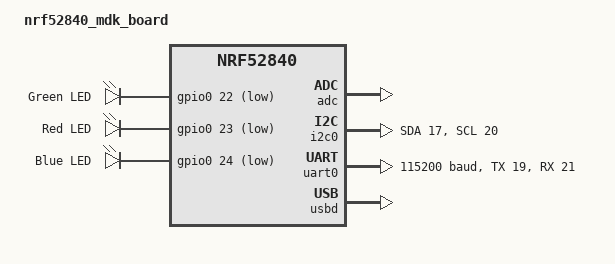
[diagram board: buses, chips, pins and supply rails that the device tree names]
/*
 * Copyright (c) 2020 Pete Johanson
 *
 * SPDX-License-Identifier: MIT
 */

/dts-v1/;
#include <nordic/nrf52840_qiaa.dtsi>
#include "arduino_pro_micro_pins.dtsi"

/ {
	model = "nrf52840_mdk_board";
	compatible = "nice,nano";

	chosen {
		zephyr,code-partition = &code_partition;
		zephyr,sram = &sram0;
		zephyr,flash = &flash0;
	};

  leds {
		compatible = "gpio-leds";
		green_led: led_0 {
			gpios = <&gpio0 22 GPIO_ACTIVE_LOW>;
			label = "Green LED";
		};
		red_led: led_1 {
			gpios = <&gpio0 23 GPIO_ACTIVE_LOW>;
			label = "Red LED";
		};
		blue_led: led_2 {
			gpios = <&gpio0 24 GPIO_ACTIVE_LOW>;
			label = "Blue LED";
		};
	};


/* These aliases are provided for compatibility with samples */
  aliases {
    led0 = &green_led;
    led1 = &red_led;
    led2 = &blue_led;
    led0-green = &green_led;
    led1-red   = &red_led;
    led2-blue  = &blue_led;
  };
};
&adc {
	status = "okay";
};

&gpiote {
	status = "okay";
};

&gpio0 {
	status = "okay";
};

&gpio1 {
	status = "okay";
};

&i2c0 {
	compatible = "nordic,nrf-twi";
	sda-pin = <17>;
	scl-pin = <20>;
};

&uart0 {
	compatible = "nordic,nrf-uarte";
	status = "okay";
	current-speed = <115200>;
	tx-pin = <19>;
	rx-pin = <21>;
	rts-pin = <23>;
	cts-pin = <25>;
};

&usbd {
	status = "okay";
};


&flash0 {
	/*
	 * For more information, see:
	 * http://docs.zephyrproject.org/latest/devices/dts/flash_partitions.html
	 */
	partitions {
		compatible = "fixed-partitions";
		#address-cells = <1>;
		#size-cells = <1>;

		sd_partition: partition@0 {
			label = "softdevice";
			reg = <0x00000000 0x00026000>;
		};
		code_partition: partition@26000 {
			label = "code_partition";
			reg = <0x00026000 0x000c6000>;
		};

		/*
		 * The flash starting at 0x000ec000 and ending at
		 * 0x000f3fff is reserved for use by the application.
		 */

		/*
		 * Storage partition will be used by FCB/LittleFS/NVS
		 * if enabled.
		 */
		storage_partition: partition@ec000 {
			label = "storage";
			reg = <0x000ec000 0x00008000>;
		};

		boot_partition: partition@f4000 {
			label = "adafruit_boot";
			reg = <0x000f4000 0x0000c000>;
		};
	};
};
